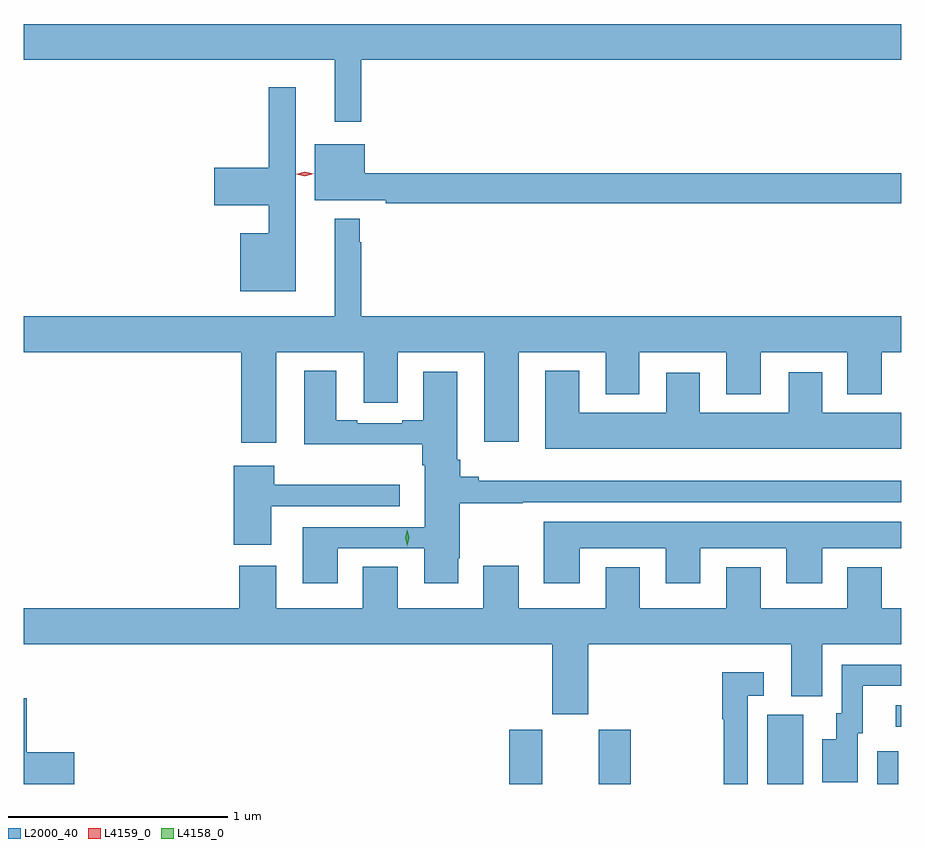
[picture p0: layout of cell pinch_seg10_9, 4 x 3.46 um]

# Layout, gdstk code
import gdstk
lib = gdstk.Library(unit=1e-6, precision=1e-09)
def R(c, l, rs):  # rectangles x0, y0, x1, y1
    for r in rs: c.add(gdstk.rectangle(r[:2], r[2:], *l))
def P(c, l, *ps):  # polygons
    for p in ps: c.add(gdstk.Polygon(p, *l))
L2000_40 = (2000, 40)
L4158_0 = (4158, 0)
L4159_0 = (4159, 0)

pinch_seg10_9 = lib.new_cell('pinch_seg10_9')
R(pinch_seg10_9, L2000_40, [(1067.24,1258.388,1067.392,1258.635), (1067.648,1258.388,1067.796,1258.635), (1068.416,1258.388,1068.58,1258.704), (1068.918,1258.388,1069.014,1258.537), (1069.002,1258.65,1069.028,1258.746)])
P(pinch_seg10_9, L2000_40, [(1066.567,1261.688),(1069.028,1261.688),(1069.028,1261.852),(1065.028,1261.852),(1065.028,1261.688),(1066.445,1261.688),(1066.445,1261.407),(1066.567,1261.407)],
  [(1066.267,1261.564),(1066.146,1261.564),(1066.146,1261.196),(1065.897,1261.196),(1065.897,1261.025),(1066.146,1261.025),(1066.146,1260.898),(1066.016,1260.898),(1066.016,1260.635),(1066.267,1260.635)],
  [(1069.028,1261.172),(1066.582,1261.172),(1066.582,1261.303),(1066.355,1261.303),(1066.355,1261.049),(1066.678,1261.049),(1066.678,1261.036),(1069.028,1261.036)],
  [(1066.18,1260.356),(1066.577,1260.356),(1066.577,1260.126),(1066.732,1260.126),(1066.732,1260.356),(1067.126,1260.356),(1067.126,1259.949),(1067.284,1259.949),(1067.284,1260.356),(1067.681,1260.356),(1067.681,1260.164),(1067.833,1260.164),(1067.833,1260.356),(1068.23,1260.356),(1068.23,1260.164),(1068.388,1260.164),(1068.388,1260.356),(1068.782,1260.356),(1068.782,1260.164),(1068.94,1260.164),(1068.94,1260.356),(1069.028,1260.356),(1069.028,1260.52),(1066.567,1260.52),(1066.567,1260.857),(1066.56,1260.857),(1066.56,1260.964),(1066.445,1260.964),(1066.445,1260.52),(1065.028,1260.52),(1065.028,1260.356),(1066.019,1260.356),(1066.019,1259.943),(1066.18,1259.943)],
  [(1066.459,1259.463),(1066.853,1259.463),(1066.853,1259.304),(1067.008,1259.304),(1067.008,1259.416),(1067.016,1259.416),(1067.016,1259.668),(1067.303,1259.668),(1067.303,1259.673),(1069.028,1259.673),(1069.028,1259.77),(1067.101,1259.77),(1067.101,1259.789),(1067.018,1259.789),(1067.018,1259.866),(1067.005,1259.866),(1067.005,1260.268),(1066.85,1260.268),(1066.85,1260.046),(1066.754,1260.046),(1066.754,1260.033),(1066.549,1260.033),(1066.549,1260.046),(1066.453,1260.046),(1066.453,1260.271),(1066.307,1260.271),(1066.307,1259.936),(1066.844,1259.936),(1066.844,1259.84),(1066.856,1259.84),(1066.856,1259.559),(1066.301,1259.559),(1066.301,1259.304),(1066.459,1259.304)],
  [(1069.028,1260.079),(1068.667,1260.079),(1068.667,1260.265),(1068.515,1260.265),(1068.515,1260.079),(1068.109,1260.079),(1068.109,1260.262),(1067.957,1260.262),(1067.957,1260.079),(1067.56,1260.079),(1067.56,1260.271),(1067.405,1260.271),(1067.405,1259.915),(1069.028,1259.915)],
  [(1066.156,1259.655),(1066.741,1259.655),(1066.741,1259.753),(1066.169,1259.753),(1066.169,1259.839),(1065.986,1259.839),(1065.986,1259.478),(1066.156,1259.478)],
  [(1067.563,1259.462),(1067.954,1259.462),(1067.954,1259.304),(1068.112,1259.304),(1068.112,1259.462),(1068.503,1259.462),(1068.503,1259.304),(1068.667,1259.304),(1068.667,1259.462),(1069.028,1259.462),(1069.028,1259.584),(1067.399,1259.584),(1067.399,1259.304),(1067.563,1259.304)],
  [(1067.602,1259.024),(1068.527,1259.024),(1068.527,1258.789),(1068.667,1258.789),(1068.667,1259.024),(1069.028,1259.024),(1069.028,1259.188),(1068.94,1259.188),(1068.94,1259.377),(1068.782,1259.377),(1068.782,1259.188),(1068.388,1259.188),(1068.388,1259.377),(1068.23,1259.377),(1068.23,1259.188),(1067.836,1259.188),(1067.836,1259.377),(1067.681,1259.377),(1067.681,1259.188),(1067.284,1259.188),(1067.284,1259.383),(1067.123,1259.383),(1067.123,1259.188),(1066.732,1259.188),(1066.732,1259.378),(1066.574,1259.378),(1066.574,1259.188),(1066.18,1259.188),(1066.18,1259.383),(1066.01,1259.383),(1066.01,1259.188),(1065.028,1259.188),(1065.028,1259.024),(1067.438,1259.024),(1067.438,1258.707),(1067.602,1258.707)],
  [(1068.829,1258.62),(1068.853,1258.62),(1068.853,1258.836),(1069.028,1258.836),(1069.028,1258.932),(1068.756,1258.932),(1068.756,1258.71),(1068.731,1258.71),(1068.731,1258.591),(1068.668,1258.591),(1068.668,1258.395),(1068.829,1258.395)],
  [(1068.327,1258.791),(1068.4,1258.791),(1068.4,1258.897),(1068.211,1258.897),(1068.211,1258.684),(1068.219,1258.684),(1068.219,1258.388),(1068.327,1258.388)],
  [(1065.259,1258.532),(1065.041,1258.532),(1065.041,1258.778),(1065.028,1258.778),(1065.028,1258.388),(1065.259,1258.388)])
P(pinch_seg10_9, L4158_0, [(1066.776,1259.475),(1066.776,1259.475),(1066.766,1259.511),(1066.776,1259.546),(1066.776,1259.547),(1066.777,1259.546),(1066.786,1259.511),(1066.777,1259.475)])
P(pinch_seg10_9, L4159_0, [(1066.31,1261.159),(1066.27,1261.168),(1066.27,1261.168),(1066.27,1261.168),(1066.31,1261.179),(1066.35,1261.17),(1066.35,1261.17),(1066.35,1261.17)])

lib.write_gds('pinch_seg10_9.gds')
